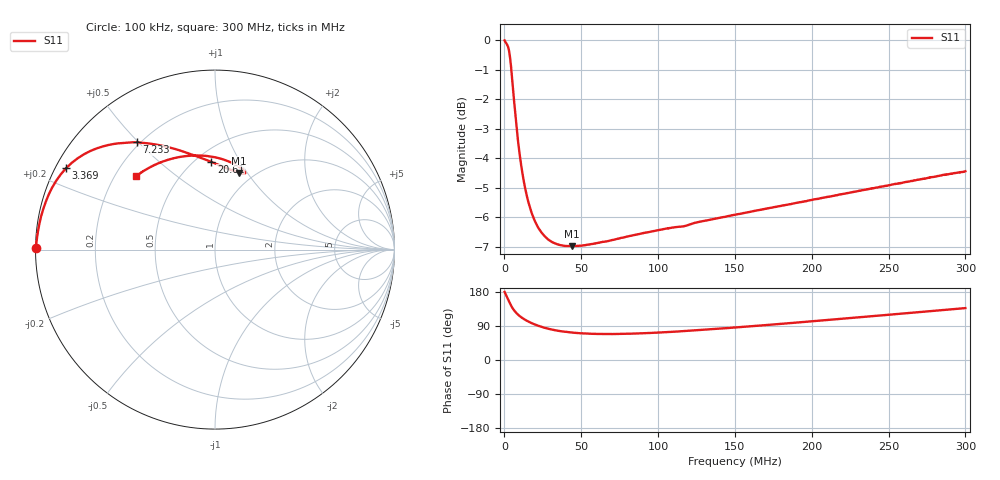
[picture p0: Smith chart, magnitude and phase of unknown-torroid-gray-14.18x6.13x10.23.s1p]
# HZ S RI R 50
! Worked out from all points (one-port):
!   1010 points, 100 kHz to 300 MHz, reference 50 ohm
!   lowest |S11| = -7.0 dB at 43.79 MHz (marker M1), VSWR 2.62, Z = 43 + j45.9 ohm
!   |S11| at or under -10 dB: nowhere
!   S11 on the Smith chart (normalised r, x): 100 kHz: 0.00, +0.00; 3.369 MHz: 0.03, +0.26; 7.233 MHz: 0.19, +0.49; 20.61 MHz: 0.59, +0.76; 300 MHz: 0.29, +0.37
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100000  -0.9981 0.00792
991600  -0.9785 0.1429
1883300  -0.9431 0.2656
2477800  -0.9076 0.345
3369400  -0.8298 0.4534
4261100  -0.7299 0.5311
5152800  -0.628 0.5739
6044500  -0.538 0.592
7233400  -0.4363 0.5978
8422300  -0.3574 0.5897
9611200  -0.2938 0.5789
1.08001e7  -0.2424 0.5662
1.22862e7  -0.1902 0.5507
1.58529e7  -0.1002 0.5192
2.06085e7  -0.0206 0.4886
2.41752e7  0.0217 0.4717
2.80391e7  0.0565 0.4573
3.784752e7  0.1142 0.4343
4.379202e7  0.1354 0.427
5.805882e7  0.162 0.4222
7.529785e7  0.1671 0.4307
9.372578e7  0.1525 0.4479
1.127482e8  0.1234 0.4669
1.501986e8  0.0369 0.505
1.87649e8  -0.0731 0.5236
2.250993e8  -0.1955 0.5165
2.625496e8  -0.3203 0.4785
2.999999e8  -0.4383 0.4094
